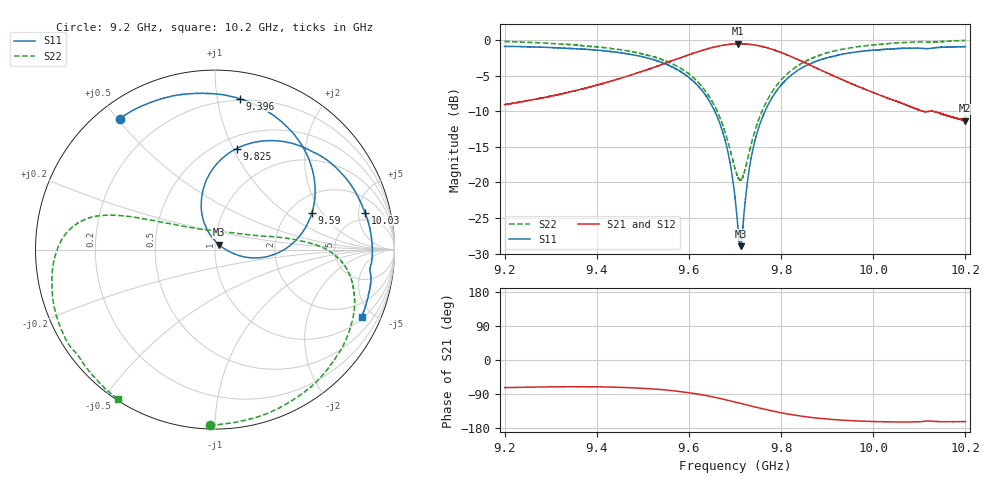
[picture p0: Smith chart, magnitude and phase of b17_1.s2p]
!Agilent Technologies,N5242A,MY51221714,A.09.90.19
!Agilent N5242A: A.09.90.19
!Date: Saturday, March 16, 2024 09:35:38
!Correction: S11(Full 2 Port(1,2))
!S21(Full 2 Port(1,2))
!S12(Full 2 Port(1,2))
!S22(Full 2 Port(1,2))
!S2P File: Measurements: S11, S21, S12, S22:
# Hz S  dB  R 50
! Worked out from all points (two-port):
!   16001 points, 9.2 GHz to 10.2 GHz, reference 50 ohm
!   highest |S21| = -0.51 dB at 9.707 GHz (marker M1); lowest = -11.3 dB at 10.2 GHz (marker M2)
!   |S21| within 3 dB of the highest: 9.538 GHz to 9.863 GHz (324.7 MHz wide, 3.35 % of centre); 9.862791 GHz to 9.862882 GHz (90.69 kHz wide, 0.00092 % of centre)
!   lowest |S11| = -29.0 dB at 9.712 GHz (marker M3), VSWR 1.07, Z = 52.2 + j2.91 ohm
!   |S11| at or under -10 dB: 9.656 GHz to 9.765 GHz (109 MHz wide, 1.12 % of centre)
!   |S22| runs from -19.7 to -0.1 dB; largest |S21 - S12| = 0.013
!   S11 on the Smith chart (normalised r, x): 9.2 GHz: 0.07, +0.51; 9.396 GHz: 0.19, +1.16; 9.59 GHz: 2.63, +1.60; 9.825 GHz: 0.61, +1.03; 10.03 GHz: 3.73, +5.95; 10.2 GHz: 1.12, -4.32
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9.2e9  -0.90 126.1  -9.07 -72.9  -9.06 -73.5  -0.19 -91.7
9.277875e9  -1.01 108.6  -8.18 -71.2  -8.16 -71.7  -0.40 -70.1
9.366688e9  -1.27 87.8  -6.91 -70.6  -6.89 -71.1  -0.78 -46.5
9.395562e9  -1.39 80.6  -6.42 -70.7  -6.40 -71.4  -0.95 -39.0
9.533375e9  -2.98 40.9  -3.63 -77.4  -3.61 -78.0  -2.55 -8.6
9.590062e9  -4.80 20.7  -2.31 -84.6  -2.29 -85.3  -4.30 0.7
9.6625e9  -10.91 -8.3  -0.89 -100.1  -0.87 -100.7  -10.15 13.7
9.684812e9  -15.80 -14.1  -0.63 -106.3  -0.61 -106.8  -14.32 26.2
9.7e9  -22.02 -7.4  -0.54 -110.8  -0.52 -111.4  -18.10 49.3
9.706562e9  -26.58 11.0  -0.51 -112.8  -0.51 -113.3  -19.35 67.5
9.711938e9  -28.96 51.4  -0.53 -114.4  -0.51 -115.0  -19.67 85.4
9.731812e9  -17.76 112.2  -0.60 -120.4  -0.58 -121.2  -15.52 134.6
9.749875e9  -12.62 108.8  -0.79 -125.9  -0.77 -126.5  -11.45 148.5
9.781688e9  -7.97 96.2  -1.32 -134.7  -1.32 -135.4  -7.19 156.8
9.824812e9  -4.80 77.9  -2.42 -144.6  -2.40 -145.2  -4.14 162.1
9.866688e9  -3.22 61.6  -3.64 -151.8  -3.63 -152.4  -2.58 166.9
9.947375e9  -1.83 35.3  -5.99 -159.7  -5.98 -160.3  -1.12 179.7
1.002656e10  -1.30 13.8  -8.03 -163.0  -8.03 -163.6  -0.53 -164.2
1.003338e10  -1.28 12.1  -8.22 -163.2  -8.20 -163.8  -0.49 -162.7
1.010556e10  -1.17 -5.1  -9.96 -162.4  -9.95 -163.0  -0.25 -146.7
1.019994e10  -0.93 -24.5  -11.33 -162.5  -11.31 -163.1  -0.06 -123.2
1.02e10  -0.93 -24.6  -11.33 -162.5  -11.32 -163.1  -0.07 -123.2
